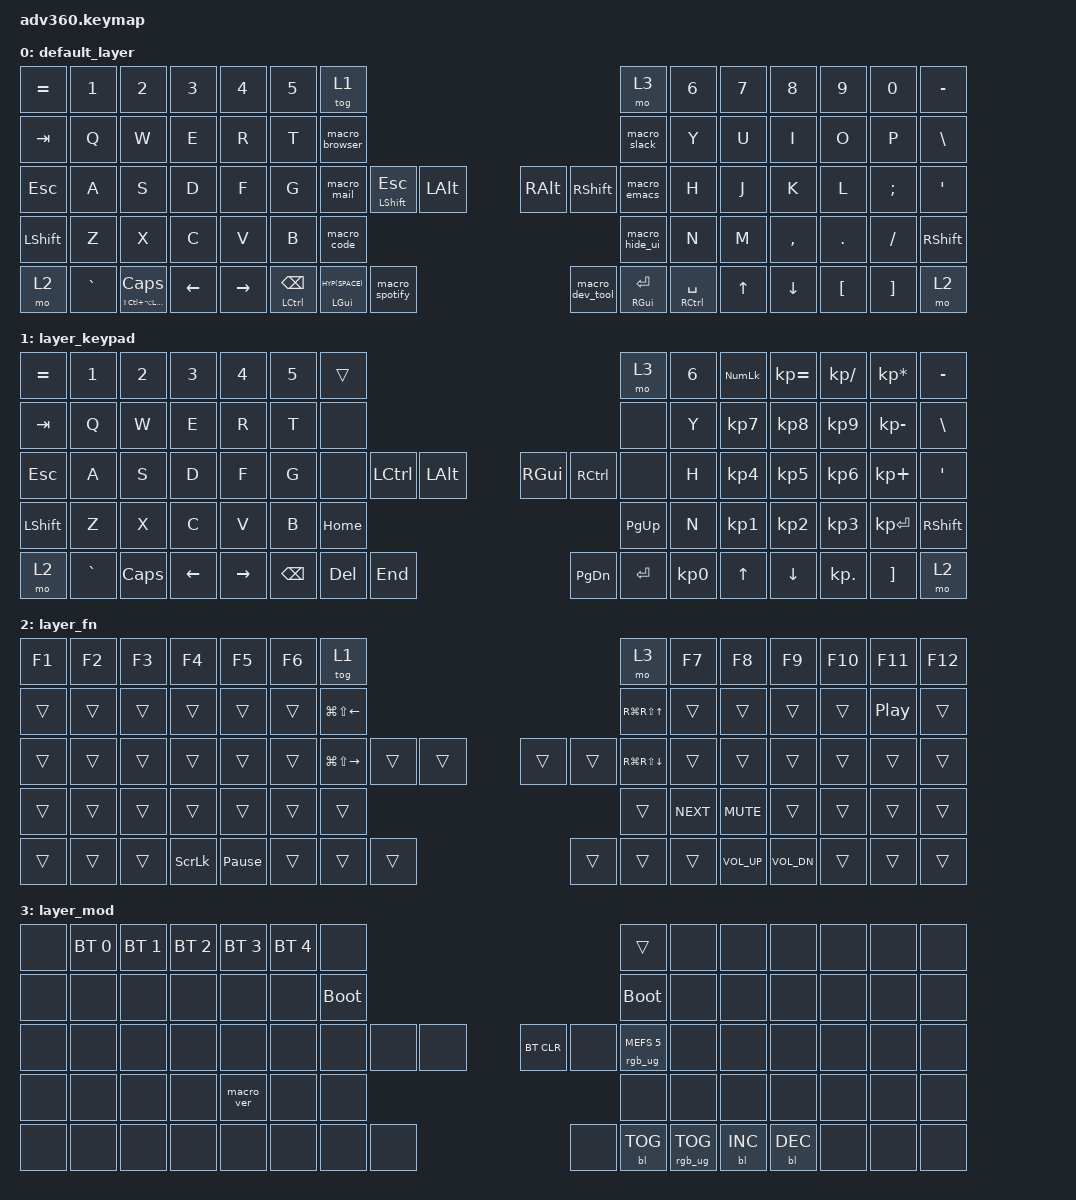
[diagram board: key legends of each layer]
#include <behaviors.dtsi>
#include <dt-bindings/zmk/keys.h>
#include <dt-bindings/zmk/bt.h>
#include <dt-bindings/zmk/rgb.h>
#include <dt-bindings/zmk/backlight.h>

#define HYP(key) LS(LC(LA(LG(key))))
#define HYPER    LS(LC(LA(LGUI)))

&mt {
    tapping-term-ms = <200>;
    quick_tap_ms = <250>;
    require-prior-idle-ms = <125>;
    flavor = "tap-preferred";
    retro-tap;
    hold-while-undecided;
};

&lt {
    tapping-term-ms = <200>;
    quick_tap_ms = <400>;
    require-prior-idle-ms = <125>;
    flavor = "balanced";
    retro-tap;
};

/ {
  behaviors {
    #include "macros.dtsi"
    #include "version.dtsi"

    hm: homerow_mods {
        compatible = "zmk,behavior-hold-tap";
        label = "HOMEROW_MODS";
        #binding-cells = <2>;
        tapping-term-ms = <200>;
        quick_tap_ms = <400>;
        require-prior-idle-ms = <125>;
        flavor = "balanced";
        retro-tap;
        bindings = <&kp>, <&kp>;
    };

    tm: thumbrow_mods {
        compatible = "zmk,behavior-hold-tap";
        label = "THUMBROW_MODS";
        #binding-cells = <2>;
        tapping-term-ms = <200>;
        quick_tap_ms = <250>;
        require-prior-idle-ms = <125>;
        flavor = "tap-preferred";
        hold-while-undecided;
        bindings = <&kp>, <&kp>;
    };
  };

    keymap {
        compatible = "zmk,keymap";


        default_layer {
            bindings = <
 &kp EQUAL     &kp N1    &kp N2    &kp N3     &kp N4  &kp N5                         &tog 1                                                                                                             &mo 3  &kp N6   &kp N7     &kp N8    &kp N9    &kp N0  &kp MINUS
   &kp TAB      &kp Q     &kp W     &kp E      &kp R   &kp T                 &macro_browser                                                                                                      &macro_slack   &kp Y    &kp U      &kp I     &kp O     &kp P   &kp BSLH
   &kp ESC      &kp A     &kp S     &kp D    &kp F   &kp G                    &macro_mail                  &tm LSHIFT ESC        &kp LALT                         &kp RALT      &kp RSHIFT     &macro_emacs   &kp H  &kp J      &kp K     &kp L  &kp SEMI    &kp SQT
 &kp LSHFT      &kp Z     &kp X     &kp C      &kp V   &kp B                                                                    &macro_code                   &macro_hide_ui                                    &kp N    &kp M  &kp COMMA   &kp DOT  &kp FSLH  &kp RSHFT
     &mo 2  &kp GRAVE  &mt HYPER CAPS  &kp LEFT  &kp RIGHT                    &mt LCTRL BACKSPACE  &tm LGUI HYP(SPACE)  &macro_spotify                  &macro_dev_tool  &tm RGUI ENTER  &mt RCTRL SPACE           &kp UP   &kp DOWN  &kp LBKT  &kp RBKT      &mo 2
            >;
        };

        layer_keypad {
            bindings = <
 &kp EQUAL     &kp N1    &kp N2    &kp N3     &kp N4  &kp N5              &trans                                                                 &mo 3  &kp N6  &kp KP_NUM  &kp KP_EQUAL  &kp KP_DIVIDE  &kp KP_MULTIPLY  &kp MINUS
   &kp TAB      &kp Q     &kp W     &kp E      &kp R   &kp T               &none                                                                 &none   &kp Y   &kp KP_N7     &kp KP_N8      &kp KP_N9     &kp KP_MINUS   &kp BSLH
   &kp ESC      &kp A     &kp S     &kp D      &kp F   &kp G               &none  &kp LCTRL  &kp LALT                   &kp RGUI  &kp RCTRL      &none   &kp H   &kp KP_N4     &kp KP_N5      &kp KP_N6      &kp KP_PLUS    &kp SQT
 &kp LSHFT      &kp Z     &kp X     &kp C      &kp V   &kp B                                 &kp HOME                  &kp PG_UP                         &kp N   &kp KP_N1     &kp KP_N2      &kp KP_N3     &kp KP_ENTER  &kp RSHFT
     &mo 2  &kp GRAVE  &kp CAPS  &kp LEFT  &kp RIGHT                    &kp BSPC    &kp DEL   &kp END                  &kp PG_DN  &kp ENTER  &kp KP_N0              &kp UP      &kp DOWN     &kp KP_DOT         &kp RBKT      &mo 2
            >;
        };

        layer_fn {
            bindings = <
 &kp F1  &kp F2  &kp F3           &kp F4          &kp F5  &kp F6                       &tog 1                                                             &mo 3      &kp F7        &kp F8        &kp F9  &kp F10   &kp F11  &kp F12
 &trans  &trans  &trans           &trans          &trans  &trans             &kp LG(LS(LEFT))                                                    &kp RG(RS(UP))      &trans        &trans        &trans   &trans  &kp C_PP   &trans
 &trans  &trans  &trans           &trans          &trans  &trans            &kp LG(LS(RIGHT))  &trans  &trans                  &trans  &trans  &kp RG(RS(DOWN))      &trans        &trans        &trans   &trans    &trans   &trans
 &trans  &trans  &trans           &trans          &trans  &trans                                       &trans                  &trans                            &kp C_NEXT    &kp C_MUTE        &trans   &trans    &trans   &trans
 &trans  &trans  &trans  &kp SCROLLLOCK  &kp PAUSE_BREAK                               &trans  &trans  &trans                  &trans  &trans            &trans              &kp C_VOL_UP  &kp C_VOL_DN   &trans    &trans   &trans
            >;
        };

        layer_mod {
            bindings = <
  &none  &bt BT_SEL 0  &bt BT_SEL 1  &bt BT_SEL 2  &bt BT_SEL 3  &bt BT_SEL 4                  &none                                                                          &trans   &none       &none       &none   &none   &none   &none
  &none         &none         &none         &none         &none         &none            &bootloader                                                                     &bootloader   &none       &none       &none   &none   &none   &none
  &none         &none         &none         &none         &none         &none                  &none   &none   &none                  &bt BT_CLR       &none  &rgb_ug RGB_MEFS_CMD 5   &none       &none       &none   &none   &none   &none
  &none         &none         &none         &none    &macro_ver         &none                                  &none                       &none                                       &none       &none       &none   &none   &none   &none
  &none         &none         &none         &none         &none                                &none   &none   &none                       &none  &bl BL_TOG         &rgb_ug RGB_TOG          &bl BL_INC  &bl BL_DEC   &none   &none   &none
            >;
        };

    };
};
